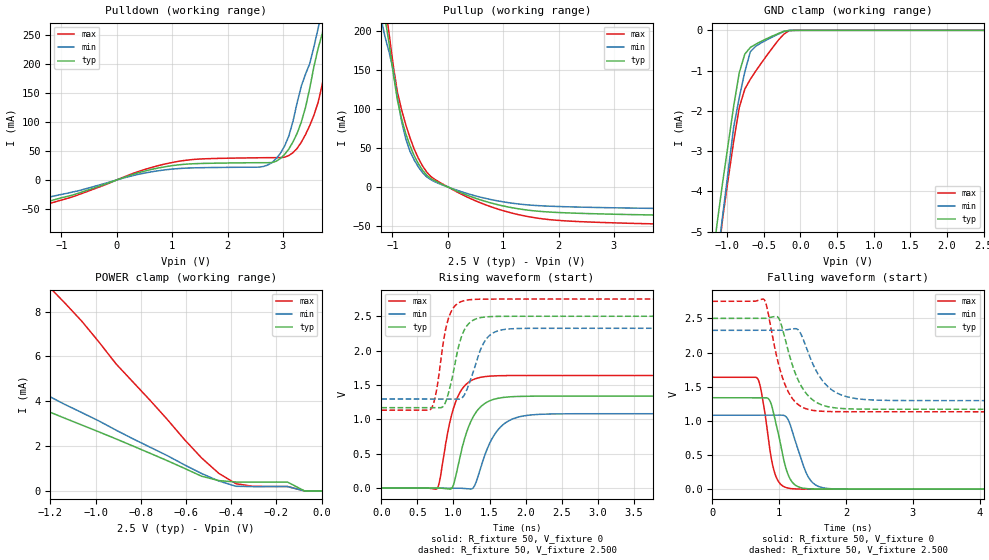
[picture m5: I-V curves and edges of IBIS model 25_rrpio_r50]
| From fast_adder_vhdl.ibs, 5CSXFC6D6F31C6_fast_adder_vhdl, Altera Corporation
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[Model]   25_rrpio_r50
Model_type  I/O
Polarity   Non-Inverting
Enable Active-Low
Vinl   = 0.700
Vinh   = 1.700
Vmeas  = 1.163
Rref   = 10M
Cref   = 0pF
Vref   = 0
C_comp 4.66pF   4.66pF   4.66pF
[Temperature Range] 25   85   0
[Voltage Range] 2.500   2.325   2.750
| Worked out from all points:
|   slope of the pulldown table from 0 to 0.375 V, typ, clamps not added: 31.5 ohm
|   slope of the pullup table from 0 to 0.375 V, typ, clamps not added: 33 ohm
|   GND clamp passes 1 mA (typ) near -0.82 V on its own axis
|   POWER clamp passes 1 mA (typ) near -0.61 V on its own axis
|   rising waveform, R_fixture 50, V_fixture 0: 20-80 % time 241ps typ, 277ps min, 207ps max; typ from 0 V to 1.34 V
|   falling waveform, R_fixture 50, V_fixture 0: 20-80 % time 187ps typ, 225ps min, 154ps max; typ from 1.34 V to 0 V
|   rising waveform, R_fixture 50, V_fixture 2.500: 20-80 % time 178ps typ, 212ps min, 147ps max; typ from 1.17 V to 2.5 V
|   falling waveform, R_fixture 50, V_fixture 2.500: 20-80 % time 298ps typ, 339ps min, 256ps max; typ from 2.5 V to 1.17 V
[GND Clamp]
| voltage   I (typ)   I (min)   I (max)
-2.5V     -26.61mA   -26.97mA   -29.91mA
-1.136V   -4.811mA   -5.729mA   -5.912mA
-1.061V   -3.788mA   -4.62mA    -4.684mA
-909.1mV  -1.882mA   -2.402mA   -2.755mA
-833.3mV  -1.055mA   -1.672mA   -1.917mA
-757.6mV  -590.5uA   -1.03mA    -1.46mA
-681.8mV  -423.9uA   -530.6uA   -1.214mA
-606.1mV  -342.5uA   -391.5uA   -1.005mA
-303mV    -80.96uA   -96.17uA   -250uA
-227.3mV  -23.98uA   -30.38uA   -97.65uA
-151.5mV  -2.012uA   -3.885uA   -6.513uA
2.5V      0A         0A         0A
[Pulldown]
| voltage   I (typ)   I (min)   I (max)
-2.5V     -70.97mA   -58.33mA   -78.78mA
833.3mV   22.09mA    16.92mA    26.65mA
2.727V    29.71mA    25.8mA     38.41mA
3.03V     43.95mA    58.38mA    39.23mA
3.106V    53.21mA    75.5mA     42.02mA
3.258V    80.57mA    133.5mA    54.47mA
3.409V    125.2mA    182.5mA    78.39mA
3.636V    226.9mA    261.5mA    133.9mA
3.712V    252.6mA    293mA      165.3mA
3.864V    326.6mA    352.8mA    244.9mA
3.939V    360.8mA    384.3mA    278.5mA
5V        890.5mA    822mA      874.3mA
[POWER Clamp]
| voltage   I (typ)   I (min)   I (max)
-2.5V     8.704mA    11.28mA    31.47mA
-2.046V   6.871mA    8.568mA    22.71mA
-1.97V    6.569mA    8.267mA    21.25mA
-1.212V   3.556mA    4.258mA    9.178mA
-1.136V   3.248mA    3.863mA    8.395mA
-909.1mV  2.321mA    2.712mA    5.667mA
-530.3mV  653.5uA    774.6uA    1.465mA
-454.6mV  460.5uA    443uA      782.7uA
-378.8mV  397.6uA    206.4uA    321.1uA
-151.5mV  397.6uA    194.6uA    199.7uA
-75.76mV  0A         0A         0A
0V        0A         0A         0A
[Pullup]
| voltage   I (typ)   I (min)   I (max)
-2.5V     909.2mA    766.3mA    1.04A
-1.212V   246.2mA    219.2mA    274.9mA
-1.136V   217.9mA    193.4mA    237.5mA
-1.061V   184.6mA    173.3mA    197.2mA
-909.1mV  111.3mA    114.3mA    121.7mA
-833.3mV  87.14mA    84mA       98.8mA
-681.8mV  52.86mA    45.56mA    63.01mA
-454.6mV  21.35mA    18.22mA    26.77mA
-227.3mV  7.559mA    6.349mA    9.382mA
681.8mV   -18.65mA   -14.73mA   -23.01mA
1.591V    -30.97mA   -23.87mA   -39.82mA
5V        -37.65mA   -28.69mA   -49.4mA
[Ramp]
dV/dt_r   8.030e-01/2.411e-10 6.492e-01/2.775e-10 9.829e-01/2.075e-10
dV/dt_f   7.981e-01/2.982e-10 6.172e-01/3.391e-10 9.703e-01/2.562e-10
R_load = 50ohms
[Rising Waveform]
R_fixture   = 50
V_fixture   = 0
V_fixture_min = 0
V_fixture_max = 0
| time   V (typ)   V (min)   V (max)
0s        1.265uV    6.122uV    2.839uV
772.2ps   112.2uV    6.366uV    -7.613mV
967ps     -11.9mV    26.86uV    1.035V
1.034ns   186.2mV    158.1uV    1.266V
1.189ns   833mV      -9.579mV   1.522V
1.283ns   1.054V     16.34mV    1.583V
1.363ns   1.168V     248.7mV    1.609V
1.612ns   1.305V     841.5mV    1.634V
1.994ns   1.336V     1.054V     1.638V
6.709ns   1.338V     1.082V     1.638V
[Falling Waveform]
R_fixture   = 50
V_fixture   = 0
V_fixture_min = 0
V_fixture_max = 0
| time   V (typ)   V (min)   V (max)
0s        1.338V     1.082V     1.638V
676.9ps   1.338V     1.082V     1.618V
737.2ps   1.339V     1.082V     1.402V
844.5ps   1.318V     1.082V     693.7mV
924.9ps   1.074V     1.082V     262.8mV
1.126ns   231.8mV    1.03V      17.51mV
1.233ns   65.49mV    727.5mV    4.139mV
1.421ns   6.943mV    205.8mV    312.4uV
1.662ns   376.8uV    19.06mV    13.21uV
6.695ns   1.828uV    6.19uV     916.5nV
[Rising Waveform]
R_fixture   = 50
V_fixture   = 2.500
V_fixture_min = 2.325
V_fixture_max = 2.750
| time   V (typ)   V (min)   V (max)
0s        1.17V      1.296V     1.133V
691.7ps   1.17V      1.296V     1.156V
758.8ps   1.169V     1.296V     1.387V
866.3ps   1.2V       1.296V     2.17V
926.7ps   1.369V     1.296V     2.457V
1.074ns   2.075V     1.294V     2.697V
1.162ns   2.323V     1.376V     2.731V
1.424ns   2.487V     2.12V      2.749V
1.692ns   2.499V     2.306V     2.75V
6.709ns   2.5V       2.325V     2.75V
[Falling Waveform]
R_fixture   = 50
V_fixture   = 2.500
V_fixture_min = 2.325
V_fixture_max = 2.750
| time   V (typ)   V (min)   V (max)
0s        2.5V       2.325V     2.75V
777.4ps   2.5V       2.325V     2.772V
978.5ps   2.521V     2.325V     1.876V
1.086ns   2.21V      2.329V     1.534V
1.287ns   1.592V     2.331V     1.236V
1.441ns   1.36V      1.982V     1.165V
1.582ns   1.257V     1.685V     1.144V
1.742ns   1.204V     1.488V     1.136V
2.165ns   1.173V     1.324V     1.133V
6.695ns   1.17V      1.296V     1.133V
